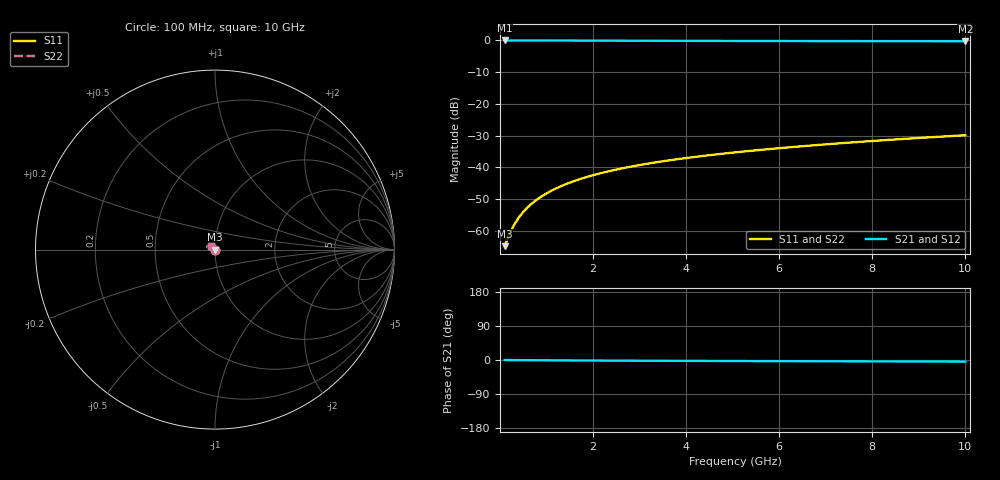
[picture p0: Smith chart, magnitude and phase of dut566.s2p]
! Touchstone file exported from HFSS 2024.1.0
!  File:  C:/UserFiles/LocalFiles/RDL_TSV_Batchsim/temp_TSV1_566_1779707744.aedt
!  Generated:  07:24:03 PM May 25, 2026
!  Design:  TSV1
!  Project:  temp_TSV1_566_1779707744
!  Setup:  Setup1
!  Solution:  Sweep
! Variables:
!  dtsv = 5.15um
!  hbump = 3um
!  htsv = 58.17um
!  lrdl = 252.1521522um
!  p = 40
!  p1 = 51.45um
!  t = 500um
!  trdl = 3um
!  wrdl = 24.89489489um
# GHz S MA R 50.000000
! Terminal data exported
! Port[1] = TSV22_T1
! Port[2] = TSV22_T2
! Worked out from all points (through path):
!   100 points, 100 MHz to 10 GHz, reference 50 ohm
!   highest |S21| = 0.00 dB at 100 MHz (marker M1); lowest = -0.2 dB at 10 GHz (marker M2)
!   lowest |S11| = -64.9 dB at 100 MHz (marker M3), VSWR 1.00, Z = 50 - j0.0399 ohm
!   |S11| at or under -10 dB: start of sweep to end of sweep
!   |S22| runs from -64.9 to -29.9 dB; largest |S21 - S12| = 9.2e-15
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0.1  0.0005701 -44.4  0.9996 -0.1  0.9996 -0.1  0.0005701 -44.4
! Gamma 0 0 0 0
! Port Impedance 50 0 50 0
0.2  0.0008707 -66.7  0.9995 -0.2  0.9995 -0.2  0.0008707 -66.7
0.3  0.001224 -78.4  0.9994 -0.2  0.9994 -0.2  0.001224 -78.4
0.4  0.001595 -85.9  0.9992 -0.3  0.9992 -0.3  0.001595 -85.9
0.5  0.001973 -91.5  0.9991 -0.4  0.9991 -0.4  0.001973 -91.5
0.6  0.002354 -96.1  0.9989 -0.5  0.9989 -0.5  0.002354 -96.1
0.7  0.002736 -100.1  0.9986 -0.5  0.9986 -0.5  0.002736 -100.1
0.8  0.003116 -103.7  0.9983 -0.6  0.9983 -0.6  0.003116 -103.7
0.9  0.003495 -107.1  0.998 -0.7  0.998 -0.7  0.003495 -107.1
1  0.003872 -110.2  0.9977 -0.8  0.9977 -0.8  0.003872 -110.2
1.2  0.00462 -116.2  0.997 -0.9  0.997 -0.9  0.00462 -116.2
1.5  0.005721 -124.4  0.9958 -1.1  0.9958 -1.1  0.005721 -124.4
1.8  0.006796 -131.9  0.9945 -1.3  0.9945 -1.3  0.006796 -131.9
2.1  0.007844 -139.0  0.9931 -1.5  0.9931 -1.5  0.007844 -139.0
2.5  0.009202 -147.7  0.9912 -1.7  0.9912 -1.7  0.009202 -147.7
2.9  0.01052 -155.6  0.9893 -1.9  0.9893 -1.9  0.01052 -155.6
3.4  0.01212 -164.6  0.9871 -2.1  0.9871 -2.1  0.01212 -164.6
4.2  0.01459 -177.0  0.9839 -2.4  0.9839 -2.4  0.01459 -177.0
5.1  0.01731 171.5  0.981 -2.7  0.981 -2.7  0.01731 171.5
6.7  0.02208 155.8  0.9773 -3.2  0.9773 -3.2  0.02208 155.8
8.4  0.02717 143.9  0.9746 -3.8  0.9746 -3.8  0.02717 143.9
10  0.03202 135.5  0.9727 -4.3  0.9727 -4.3  0.03202 135.5
